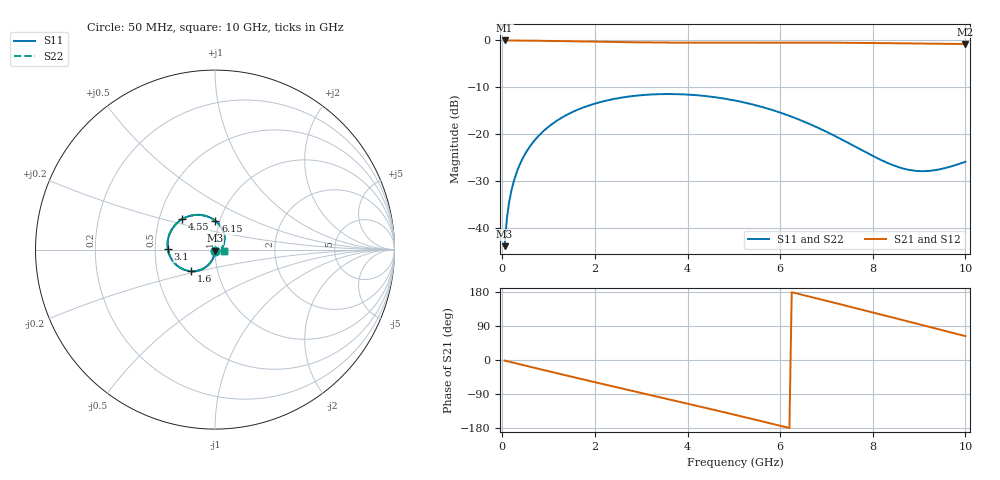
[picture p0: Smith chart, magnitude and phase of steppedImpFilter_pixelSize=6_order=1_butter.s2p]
! freq	dB(S11)	phase(S11)	dB(S12)	phase(S12)
!  dB(S21)	phase(S21)	dB(S22)	phase(S22)
!S-par simulation data
#  GHz  S  DB  R 50
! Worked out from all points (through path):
!   200 points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, 50 MHz to 10 GHz, reference 50 ohm
!   highest |S21| = 0.00 dB at 50 MHz (marker M1); lowest = -0.8 dB at 10 GHz (marker M2)
!   group delay of S21, straight-line fit = 81.9 ps
!   lowest |S11| = -43.9 dB at 50 MHz (marker M3), VSWR 1.01, Z = 50 - j0.639 ohm
!   |S11| at or under -10 dB: start of sweep to end of sweep
!   |S22| runs from -43.9 to -11.4 dB; largest |S21 - S12| = 0
!   S11 on the Smith chart (normalised r, x): 50 MHz: 1.00, -0.01; 1.6 GHz: 0.74, -0.18; 3.1 GHz: 0.58, +0.01; 4.55 GHz: 0.66, +0.24; 6.15 GHz: 0.95, +0.31; 10 GHz: 1.11, -0.02
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0.05  -43.89 -91.5  -0.00 -1.5  -0.00 -1.5  -43.89 -91.5
0.1  -37.88 -93.3  -0.00 -3.0  -0.00 -3.0  -37.88 -93.3
0.2  -31.90 -96.5  -0.01 -6.0  -0.01 -6.0  -31.90 -96.5
0.3  -28.43 -99.7  -0.02 -9.0  -0.02 -9.0  -28.43 -99.7
0.45  -24.99 -104.3  -0.03 -13.4  -0.03 -13.4  -24.99 -104.2
0.65  -21.90 -110.2  -0.05 -19.3  -0.05 -19.3  -21.90 -110.2
0.9  -19.24 -117.6  -0.08 -26.7  -0.08 -26.7  -19.24 -117.6
1.6  -14.90 -138.1  -0.19 -47.1  -0.19 -47.1  -14.90 -138.1
1.75  -14.30 -142.5  -0.22 -51.4  -0.22 -51.4  -14.30 -142.4
2.45  -12.41 -162.6  -0.34 -71.4  -0.34 -71.4  -12.41 -162.5
3.1  -11.60 179.0  -0.42 -89.7  -0.42 -89.7  -11.60 179.0
3.4  -11.46 170.4  -0.44 -98.2  -0.44 -98.2  -11.46 170.5
3.95  -11.52 154.7  -0.47 -113.8  -0.47 -113.8  -11.52 154.8
4.55  -12.06 137.3  -0.47 -130.9  -0.47 -130.9  -12.06 137.4
5.05  -12.87 122.6  -0.46 -145.4  -0.46 -145.4  -12.87 122.6
5.6  -14.17 106.0  -0.45 -161.6  -0.45 -161.6  -14.17 106.1
6.15  -15.91 89.2  -0.45 -178.0  -0.45 -178.0  -15.91 89.3
6.7  -18.10 72.2  -0.46 165.3  -0.46 165.3  -18.10 72.3
7.45  -21.75 49.1  -0.50 142.4  -0.50 142.4  -21.76 49.3
8.35  -26.27 24.5  -0.58 114.6  -0.58 114.6  -26.27 24.8
9.15  -27.87 9.1  -0.67 89.7  -0.67 89.7  -27.87 9.2
10  -25.89 -8.1  -0.76 63.0  -0.76 63.0  -25.90 -8.1
